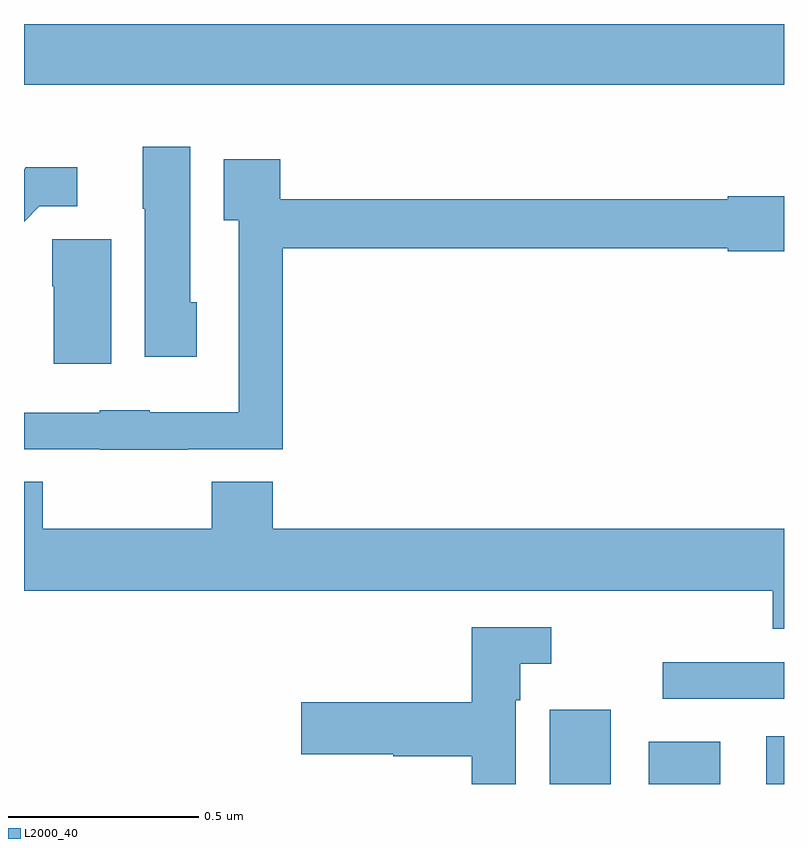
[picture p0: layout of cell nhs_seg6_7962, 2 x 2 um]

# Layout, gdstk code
import gdstk
lib = gdstk.Library(unit=1e-6, precision=1e-09)
def R(c, l, rs):  # rectangles x0, y0, x1, y1
    for r in rs: c.add(gdstk.rectangle(r[:2], r[2:], *l))
def P(c, l, *ps):  # polygons
    for p in ps: c.add(gdstk.Polygon(p, *l))
L2000_40 = (2000, 40)

nhs_seg6_7962 = lib.new_cell('nhs_seg6_7962')
R(nhs_seg6_7962, L2000_40, [(216.383,941.5,216.544,941.695), (216.644,941.5,216.832,941.611), (216.953,941.5,217,941.626), (216.681,941.724,217,941.82), (215,943.34,217,943.5)])
P(nhs_seg6_7962, L2000_40, [(215.455,942.768),(215.437,942.768),(215.437,943.177),(215.312,943.177),(215.312,943.014),(215.318,943.014),(215.318,942.624),(215.455,942.624)],
  [(215.431,942.381),(215.681,942.381),(215.681,942.91),(216.852,942.91),(216.852,942.902),(217,942.902),(217,943.047),(216.852,943.047),(216.852,943.039),(215.674,943.039),(215.674,943.144),(215.525,943.144),(215.525,942.983),(215.565,942.983),(215.565,942.478),(215.331,942.478),(215.331,942.484),(215.199,942.484),(215.199,942.477),(215,942.477),(215,942.381),(215.199,942.381),(215.199,942.38),(215.431,942.38)],
  [(215.04,943.02),(215.14,943.02),(215.14,943.123),(215.005,943.123),(215,943.118),(215,942.98)],
  [(215.23,942.933),(215.074,942.933),(215.074,942.81),(215.078,942.81),(215.078,942.606),(215.23,942.606)],
  [(216.971,941.909),(217,941.909),(217,942.172),(215.654,942.172),(215.654,942.296),(215.494,942.296),(215.494,942.172),(215.049,942.172),(215.049,942.296),(215,942.296),(215,942.008),(216.971,942.008)],
  [(216.294,941.72),(216.306,941.72),(216.306,941.817),(216.388,941.817),(216.388,941.913),(216.178,941.913),(216.178,941.715),(215.73,941.715),(215.73,941.578),(215.972,941.578),(215.972,941.573),(216.178,941.573),(216.178,941.5),(216.294,941.5)])

lib.write_gds('nhs_seg6_7962.gds')
